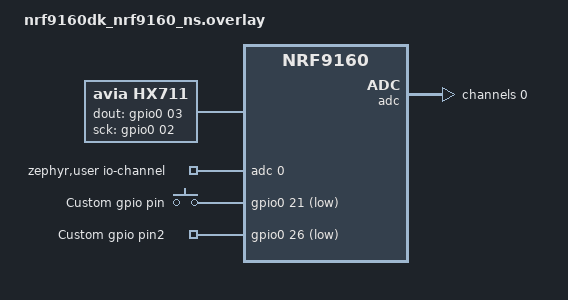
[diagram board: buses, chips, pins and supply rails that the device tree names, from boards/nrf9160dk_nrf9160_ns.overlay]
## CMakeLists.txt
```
#
# Copyright (c) 2020 Nordic Semiconductor
#
# SPDX-License-Identifier: LicenseRef-BSD-5-Clause-Nordic
#

cmake_minimum_required(VERSION 3.20.0)

find_package(Zephyr REQUIRED HINTS $ENV{ZEPHYR_BASE})
project(https_client)

# NORDIC SDK APP START
target_sources(app PRIVATE src/main.c)

target_sources(app PRIVATE IoTConnect/src/IoTConnectSDK.c)
# NORDIC SDK APP END
```

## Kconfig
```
#
# Copyright (c) 2018 Nordic Semiconductor ASA
#
# SPDX-License-Identifier: LicenseRef-BSD-5-Clause-Nordic
#

menu "HTTPS client sample"

config SAMPLE_TFM_MBEDTLS
	bool "Use TF-M and MbedTLS"
	help
	  Use TF-M and MbedTLS in this sample instead of using
	  the offloaded TLS stack in the modem.

config SEC_TAG
	int "Security tag to use for the connection"
	default 1

config PROVISION_CERTIFICATES
	bool "Provision of certificate"
	help
		Enable run-time provisioning of certificates from the
		certificates header file selected by using CERTIFICATES_FILE
# or
config CERTIFICATES_FILE
	string "Certificates to use"
	depends on PROVISION_CERTIFICATES
	default "certificates.h"


config PEER_VERIFY
    int "Peer verify parameter for mqtt_client"
    default 1
    help
        Set to 0 for VERIFY_NONE, 1 for VERIFY_OPTIONAL, and 2 for VERIFY_REQUIRED.

config MQTT_PUB_TOPIC
	string "MQTT publish topic"
	default "my/publish/topic"

config MQTT_SUB_TOPIC
	string "MQTT subscribe topic"
	default "my/subscribe/topic"

config MQTT_CLIENT_ID
	string "MQTT Client ID"
	default "my-client-id"

config MQTT_BROKER_HOSTNAME
	string "MQTT broker hostname"
	default "mqtt.eclipse.org"

config MQTT_BROKER_PORT
	int "MQTT broker port"
	default 1883

config MQTT_MESSAGE_BUFFER_SIZE
	int "MQTT message buffer size"
	default 4098

config MQTT_PAYLOAD_BUFFER_SIZE
	int "MQTT payload buffer size"
	default 4098

endmenu

menu "Zephyr Kernel"
#source "$ZEPHYR_BASE/Kconfig.zephyr"
source "Kconfig.zephyr"
endmenu
```

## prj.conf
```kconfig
CONFIG_NRF_MODEM_LIB=y
CONFIG_DATE_TIME=y

# Networking
CONFIG_NETWORKING=y
CONFIG_NET_SOCKETS=y
CONFIG_NET_SOCKETS_POSIX_NAMES=y
CONFIG_NET_IPV4=y
CONFIG_NET_IPV6=y
CONFIG_NET_CONNECTION_MANAGER=y
CONFIG_NET_CONNECTION_MANAGER_MONITOR_STACK_SIZE=1024
CONFIG_NET_NATIVE=n
CONFIG_NET_SOCKETS_OFFLOAD=y



#CONFIG_BSD_LIBRARY=y
#CONFIG_BSD_LIBRARY_SYS_INIT=n

# BSD library
#CONFIG_BSD_LIBRARY=y
CONFIG_MODEM_KEY_MGMT=y

# LTE link control
CONFIG_LTE_LINK_CONTROL=y
CONFIG_LTE_AUTO_INIT_AND_CONNECT=n
CONFIG_LTE_NETWORK_MODE_LTE_M=y

# AT Host
CONFIG_UART_INTERRUPT_DRIVEN=y
CONFIG_AT_HOST_LIBRARY=y
CONFIG_CJSON_LIB=y
CONFIG_NEWLIB_LIBC=y

CONFIG_PDN=y
CONFIG_PDN_ESM_STRERROR=y


# Added by W-ADS
CONFIG_NEWLIB_LIBC_FLOAT_PRINTF=y

# MQTT
CONFIG_MQTT_LIB=y
CONFIG_MQTT_LIB_TLS=y

# POWER MANAGEMENT
CONFIG_PM_DEVICE=y

# Debugging configurations
CONFIG_DEBUG_OPTIMIZATIONS=y
CONFIG_DEBUG_THREAD_INFO=y

# FLOAT DATA TYPE
CONFIG_CBPRINTF_FP_SUPPORT=y

#lOGGING
CONFIG_LOG=y

CONFIG_FLASH=y
CONFIG_FLASH_PAGE_LAYOUT=y
CONFIG_FLASH_MAP=y
CONFIG_NVS=y
CONFIG_SETTINGS=y
CONFIG_SETTINGS_NVS_SECTOR_COUNT=8

# Appliaction
#CONFIG_MQTT_PUB_TOPIC="/my/publish/topic"
#CONFIG_MQTT_SUB_TOPIC="/my/subscribe/topic"
#CONFIG_MQTT_CLIENT_ID="xswavnet-Device01"
#CONFIG_MQTT_BROKER_HOSTNAME="qa-iconnect-core-iothub-cu.azure-devices.net"
#CONFIG_MQTT_BROKER_PORT=8883

# Main thread
CONFIG_MAIN_STACK_SIZE=8192
#CONFIG_MAIN_STACK_SIZE=4096
CONFIG_HEAP_MEM_POOL_SIZE=1024
```

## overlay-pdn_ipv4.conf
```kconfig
CONFIG_PDN_DEFAULTS_OVERRIDE=y
CONFIG_PDN_DEFAULT_FAM_IPV4=y
```

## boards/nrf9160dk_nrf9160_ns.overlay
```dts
/*
 * Copyright (c) 2021 Nordic Semiconductor ASA
 *
 * SPDX-License-Identifier: LicenseRef-Nordic-5-Clause
 */

/* Disable uart1 in nonsecure since it is used by the TFM secure app. */
&uart1 {
	status = "disabled";
};

/{

	hx711 {
		compatible = "avia,hx711";
		status = "okay";
		label = "HX711";
		dout-gpios = <&gpio0 03 (GPIO_ACTIVE_HIGH | GPIO_PULL_UP) >;  /* P0.03 */
		sck-gpios = <&gpio0 02 GPIO_ACTIVE_HIGH>;                     /* P0.02 */
	};
};

/ {
	zephyr,user {
		io-channels = <&adc 0>;
	};
};

&adc {
	#address-cells = <1>;
	#size-cells = <0>;

	channel@0 {
		reg = <0>;
		zephyr,gain = "ADC_GAIN_1_6";
		zephyr,reference = "ADC_REF_INTERNAL";
		zephyr,acquisition-time = <ADC_ACQ_TIME(ADC_ACQ_TIME_MICROSECONDS, 20)>;
		zephyr,input-positive = <NRF_SAADC_AIN7>; /* P0.20 */
		zephyr,resolution = <10>;
	};
};


/{
    GPIO_ADC_SWITCH {
        compatible = "gpio-keys";
        adcswitch: adc_switch {
            gpios = <&gpio0 21 GPIO_ACTIVE_LOW >;   /*GPIO PIN P0.21 */
            label = "Custom gpio pin";
        };
		errordetectionled: Error_detection {
            gpios = <&gpio0 26 GPIO_ACTIVE_LOW >;
            label = "Custom gpio pin2";
        };

    };
    aliases {
        adcswitch = &adcswitch;
        errordetectionled = &errordetectionled;
    };
}; 
```

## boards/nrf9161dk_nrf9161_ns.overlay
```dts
/*
 * Copyright (c) 2021 Nordic Semiconductor ASA
 *
 * SPDX-License-Identifier: LicenseRef-Nordic-5-Clause
 */

/* Disable uart1 in nonsecure since it is used by the TFM secure app. */
&uart1 {
	status = "disabled";
};
```

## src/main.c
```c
/********************************************************************************************
  SDK for IoTConnect
  
  This IoTConnect SDK will help you to update your Sensors data on IoTConnect cloud(AWS, AZ)
  In this example file Humidity, Temperature and Gyroscope(x,y,z) random data published on our cloud at real time

  For run this example you have to include/import "IoTConnect.cpp" or "IoTConnect.h"
  you will need wifi connection for publishing data to IoTCOnnect ..
  For the secure MQTT connection here we are using "X.509 certificats" 
  
  for more help and informationvisit https://help.iotconnect.io SDK section

    modified 24/12/2024
********************************************************************************************/

/********************************************************************************************
Hope you have installed the node SDK as guided on SDK documentation. 
********************************************************************************************/

#include "IoTConnect_Config.h"
#include "main.h"


/* Initialize AT communications */
int at_comms_init(void)
{

    int err;
	err = nrf_modem_lib_init();
	if (err) {
		printk("FIRMWARE : Modem library initialization failed, error: %d\n", err);
		return 0;
	}
}


void main(void)
{  
    int err;
    
    err = at_comms_init();
    if (err) 
    {
	    return ;
	}

    err = provision_certificates();
    if (err) 
    {
	    return ;
	}

    printk("FIRMWARE : Waiting for network.. \n");

    err = lte_lc_init_and_connect();
    if (err == 0) 
    {
        printk("FIRMWARE : LTE initialization and connection successful\n");
    }
    else 
    {
        printk("FIRMWARE : LTE initialization and connection failed with error code: %d\n", err);
        if (err == -EFAULT) 
        {
            printk("FIRMWARE : Error: AT command failed\n");
        } 
        else if (err == -ETIMEDOUT) 
        {
            printk("FIRMWARE : Error: Connection attempt timed out\n");
        } 
        else if (err == -EINPROGRESS) 
        {
            printk("FIRMWARE : Error: Connection establishment already in progress\n");
        } 
        else 
        {
            printk("FIRMWARE : Unknown error\n");
        }
    }


    printk("FIRMWARE : OK\n");


    /********************************************************************************************
    ## Prerequisite params to run this sampel code input in IoTConnect_config.h

    - IOTCONNECT_DEVICE_CP_ID              :: It need to get from the IoTConnect platform. 
    - IOTCONNECT_DEVICE_UNIQUE_ID          :: Its device ID which register on IotConnect platform and also its status has Active and Acquired
    - IOTCONNECT_DEVICE_ENV                :: You need to pass respective environment of IoTConnecct platform
    Note : 
    ********************************************************************************************/
    k_msleep(2000);

    err = IoTConnect_Init(IOTCONNECT_DEVICE_CP_ID, IOTCONNECT_DEVICE_UNIQUE_ID, IOTCONNECT_DEVICE_ENV, Device_CallBack, Twin_CallBack);

    if (err) 
    {
        printk("FIRMWARE : Failed to Init IoTConnect SDK\n");
        return ;
	}

    printk("FIRMWARE : Init IoTConnect SDK SUCCESS\n");

    /********************************************************************************************
    Type    : Public Method "IoTConnect_Connect()"
    Usage   : To connect with IoTConnect MQTT broker
    ********************************************************************************************/
    reinit:
        if(IoTConnect_Connect() != 0)
        {
            printk("FIRMWARE : Error : IoTConnect_Connect Fail\n");
        }

    /********************************************************************************************
    Type    : Public Method "getAllTwins()"
    Usage   : To get all the twin properies Desired and Reported
    Output  : All twin property will receive in above callback function "twinUpdateCallback()"
    ********************************************************************************************/


    while(1)
    {
        if(MQTT_Status() == 0)
        {
            // all sensors data will be formed in JSON format and will be publied by SendData() function 
            char * attributeData = Sensor_data();

            /********************************************************************************************
            Type    : Public Method "sendData()"
            Usage   : To publish the D2C data 
            Output  : 
            Input   : Predefined data object 
            ********************************************************************************************/
            if(SendData(attributeData) != 0)
            {
                printk("FIRMWARE : Error : attributeData Send Data\n");
            }
        }
        else
        {
            printk("FIRMWARE : MQTT Connection Failed\n");
            //TODO: Break the loop, wait for internet connectivity, start form reinit goto handler
            printk("FIRMWARE : Waiting for 15 sec\n Trying to reinit IotConnect MQTT Connection\n");
            k_msleep(15000);
            
            goto reinit;
        }
        k_msleep(5000);
    }


    /********************************************************************************************
    Type    : Public Method "IoTConnect_Abort()"
    Usage   : Disconnect the device from cloud
    Output  : 
    Input   : 
    Note : It will disconnect the device after defined time 
    ********************************************************************************************/ 
    err = IoTConnect_Abort();
    if (err)
    {
        printk("FIRMWARE : Failed to Abort IoTConnect SDK\n");
        return ;
    }
}


/*******************************************************************************************
Type    : Callback Function "TwinUpdateCallback()"
Usage   : Manage twin properties as per business logic to update the twin reported property
Output  : Receive twin properties Desired, Reported
Input   : 
********************************************************************************************/
void Twin_CallBack(char *topic, char *payload)
{      
    char *key = NULL, *value = NULL;
    int deviceType;
    printk("FIRMWARE : Twin/Shadow Callback\r\n");
    printk("FIRMWARE : Twin/Shadow Topic: %s\r\n", topic);
    printk("FIRMWARE : Twin/Shadow Payload: %s\r\n", payload);
    
    cJSON *root = cJSON_Parse(payload);        
    cJSON *D = cJSON_GetObjectItem(root, "desired");
    if(D) 
    {
        cJSON *device = D->child;
        while (device) 
        {
            if (!strcmp(device->string, "$version")) 
            {}
            else 
            {
                key = device->string;
                deviceType = device->type;
                if(deviceType == 8)
                { 
                    int  intVal;
                    double diff, flotVal;
                    flotVal = (cJSON_GetObjectItem(D, key))->valuedouble;
                    intVal = flotVal;
                    diff = flotVal - intVal;
                    if (diff > 0) {} 
                    if (diff <= 0)
                    {
                        printk("FIRMWARE : int value: %d\n", (cJSON_GetObjectItem(D, key))->valueint);
                        UpdateTwin_Int(key, intVal);
                    }
                }
                if (deviceType == 16)
                {
                    value = (cJSON_GetObjectItem(D, key))->valuestring;
                    printk("FIRMWARE : string value: %s\n", value);
                    UpdateTwin_Str(key,value);
                }
                if (deviceType == 4 || deviceType == 64)
                {
                    printk("FIRMWARE : Removed twin %s has value NULL\n", key);
                }
            }
            device = device->next;
        }		
    }
}


/********************************************************************************************
Type    : Callback Function "Device_CallBack()"
Usage   : Firmware will receive commands from cloud. You can manage your business logic as per received command.
Output  : Receive device command, firmware command and other device initialize error response
Input   :  
********************************************************************************************/
void Device_CallBack(char *topic, char *payload)
{      
    printk("FIRMWARE : Device Callback\r\n");
    printk("FIRMWARE : Topic: %s\r\n", topic);
    
    cJSON *ackJson, *subValue, *inUrl;
    int status = 0,msgType=0;
    char *ackID = NULL;
    char *ackJsonData = NULL;

    cJSON *root = cJSON_Parse(payload);

    if(cJSON_HasObjectItem(root, "ct"))
    {
        int ctValue = (cJSON_GetObjectItem(root, "ct")->valueint);
        if(cJSON_HasObjectItem(root, "ack"))
        {
            ackID = (cJSON_GetObjectItem(root, "ack")->valuestring);
        }

        if(ctValue == 0){
            status = 2,msgType = 0;
            printk("FIRMWARE : Command Payload: %s\r\n", payload);
        }
        if(ctValue == 1){
            status = 5,msgType = 1;

            subValue = cJSON_GetObjectItem(root,"urls");
            if(cJSON_IsArray(subValue)){
                int urlCount = cJSON_GetArraySize(subValue);
                for(int i = 0; i < urlCount; i++)
                {
                    inUrl = cJSON_GetArrayItem(subValue, i);

                    char* otaUrl = cJSON_GetObjectItem(inUrl, "url")->valuestring;
                    printk("FIRMWARE : OTA URL : %s\r\n", otaUrl);
                }
            }
        }
        if(ctValue == 2){
            status = 2,msgType = 2;
            printk("FIRMWARE : Module Command Payload: %s\r\n", payload);
        }
    }

    ackJson = cJSON_CreateObject();
    if (ackJson == NULL)
	{
        printk("FIRMWARE : Unable to allocate ackJson Object in Device_CallBack\n");
        return ;    
    }
    cJSON_AddStringToObject(ackJson, "ack",ackID);
    cJSON_AddNumberToObject(ackJson, "type", msgType);
    cJSON_AddNumberToObject(ackJson, "st", status);
    cJSON_AddStringToObject(ackJson, "msg","Not Implemented");

    ackJsonData = cJSON_PrintUnformatted(ackJson);

    /*
    Type    : Public Method "sendAck()"
    Usage   : Send firmware command received acknowledgement to cloud
      - status Type
		st = 2; // Device command Ack status 
        st = 1; // Device command Ack status Failed
		st = 5; // firmware OTA command Ack status 
        st = 1; // firmware OTA command Ack status Failed
      - Message Type
		msgType = 0; // for device command 
        msgType = 1; // for Firmware command
        msgType = 2; // for Module command
    */ 

    if(!SendAck(ackJsonData, msgType))
    {
        printk("FIRMWARE : Send Command ACK Success\n");
    }else{
        printk("FIRMWARE : Send Command ACK Fail\n");
    }
}


// All Sensor telemetry data formation here in JSON 
char *Sensor_data(void)
{

    cJSON *attributeJson = NULL;
    cJSON *deviceData = NULL;
    cJSON *deviceJson = NULL;
    cJSON *gyrData = NULL;

    attributeJson = cJSON_CreateArray();
    if (attributeJson == NULL)
    {
        printk("FIRMWARE : Unable to allocate attributeJson Object\n");
        return NULL;    
    }

    cJSON_AddItemToArray(attributeJson, deviceData = cJSON_CreateObject());
    cJSON_AddStringToObject(deviceData, "uniqueId",IOTCONNECT_DEVICE_UNIQUE_ID);
    cJSON_AddStringToObject(deviceData, "time", Get_Time());
    cJSON_AddItemToObject(deviceData, "data", deviceJson = cJSON_CreateObject());
    cJSON_AddNumberToObject(deviceJson,"Humidity",30);
    cJSON_AddNumberToObject(deviceJson, "Temperature",18);
    cJSON_AddItemToObject(deviceJson, "Gyroscope", gyrData = cJSON_CreateObject());
    cJSON_AddNumberToObject(gyrData,"X",128);
    cJSON_AddNumberToObject(gyrData,"Y",148);
    cJSON_AddNumberToObject(gyrData,"Z",318);
    cJSON_AddNumberToObject(deviceJson, "Temperature",64);
    
    char *msg = cJSON_PrintUnformatted(attributeJson);
    cJSON_Delete(attributeJson);
    return  msg;
}
```

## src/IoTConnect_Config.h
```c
#ifndef IOTCONNECT_CONFIG_H
#define IOTCONNECT_CONFIG_H

/* IoTConnect credential configuration */
#define  IOTCONNECT_DEVICE_CP_ID        ""
#define  IOTCONNECT_DEVICE_UNIQUE_ID    ""
#define  IOTCONNECT_DEVICE_ENV          ""

/* IoTConnect server port configuration */
#endif /* IOTCONNECT_CONFIG_H */
```

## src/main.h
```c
#ifndef MAIN_H
#define MAIN_H

#include "../IoTConnect/src/IoTConnectSDK.h"
char *Attribute_json_Data = " ";


char *Sensor_data(void);


char *Get_Time(void);
int at_comms_init(void);

int provision_certificates(void);

#endif /* MAIN_H */
```
